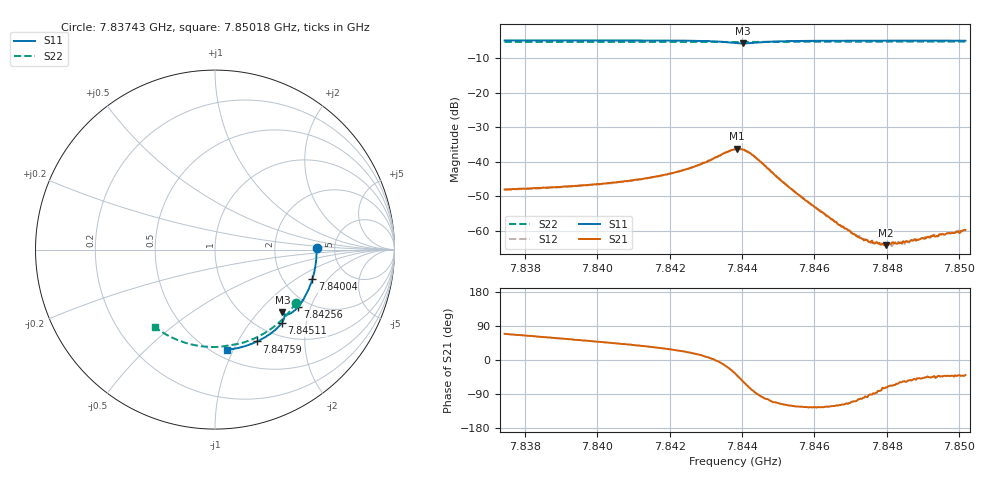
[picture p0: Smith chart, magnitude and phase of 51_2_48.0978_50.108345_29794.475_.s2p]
#  HZ  S  RI  R  50.00
! Rohde & Schwarz Vector Network Analyzer
! Rohde-Schwarz,ZNB20-2Port,1311601062101988,3.16
! Created: UTC 12/23/2023, 3:39:45 AM
! freq[Hz]  re:S11  im:S11  re:S21  im:S21  re:S12  im:S12  re:S22  im:S22
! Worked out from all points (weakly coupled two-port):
!   401 points, 7.83743 GHz to 7.85018 GHz, reference 50 ohm
!   highest |S21| = -36.24 dB at 7.84387 GHz (marker M1); lowest = -64.1 dB at 7.84798 GHz (marker M2)
!   lowest |S11| = -5.8 dB at 7.84403 GHz (marker M3), VSWR 3.11, Z = 71.8 - j68.4 ohm
!   |S11| at or under -10 dB: nowhere
!   |S22| runs from -5.4 to -5.3 dB; largest |S21 - S12| = 0.00037
!   S11 on the Smith chart (normalised r, x): 7.83743 GHz: 3.61, +0.07; 7.84004 GHz: 2.86, -1.40; 7.84256 GHz: 1.74, -1.63; 7.84511 GHz: 1.24, -1.46; 7.84759 GHz: 0.81, -1.21; 7.85018 GHz: 0.58, -0.95
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7.837432e9  0.5666 0.00633  0.00143 0.00373  0.00145 0.00365  0.4513 -0.2963
7.839566e9  0.5508 -0.135  0.00284 0.0036  0.00274 0.00355  0.3536 -0.409
7.840044e9  0.5422 -0.1659  0.00319 0.00355  0.0031 0.00353  0.3277 -0.4302
7.841701e9  0.4969 -0.2701  0.00529 0.00331  0.00523 0.0033  0.2286 -0.4908
7.842561e9  0.4607 -0.3212  0.00768 0.00272  0.00763 0.00273  0.1724 -0.5133
7.843326e9  0.4133 -0.3589  0.0119 -0.000631  0.0118 -0.000669  0.1202 -0.5271
7.843803e9  0.3788 -0.3582  0.0124 -0.00876  0.0123 -0.00889  0.0882 -0.5319
7.843867e9  0.3765 -0.3557  0.0115 -0.0103  0.0114 -0.0101  0.0841 -0.5323
7.844026e9  0.376 -0.3504  0.00817 -0.0125  0.00818 -0.0126  0.0743 -0.534
7.844345e9  0.3857 -0.3559  0.00108 -0.0118  0.00114 -0.0119  0.0538 -0.5377
7.84511e9  0.3723 -0.4076  -0.00232 -0.00466  -0.00229 -0.00468  0.000422 -0.5429
7.845938e9  0.3311 -0.4515  -0.00136 -0.00193  -0.00137 -0.00197  -0.0579 -0.5405
7.846766e9  0.2841 -0.485  -0.00053 -0.00103  -0.000533 -0.00103  -0.1156 -0.5318
7.847117e9  0.2634 -0.4971  -0.000292 -0.000848  -0.000285 -0.000882  -0.1398 -0.5264
7.847308e9  0.252 -0.5033  -0.00017 -0.000762  -0.000162 -0.00077  -0.1527 -0.523
7.847595e9  0.2347 -0.5117  -1.58e-05 -0.000725  -6.68e-06 -0.000684  -0.1718 -0.517
7.847977e9  0.2109 -0.522  0.000191 -0.000595  0.000192 -0.000638  -0.1973 -0.508
7.848072e9  0.2051 -0.5243  0.000236 -0.000605  0.00021 -0.000612  -0.2034 -0.5057
7.84855e9  0.1747 -0.5353  0.000387 -0.0006  0.000365 -0.000597  -0.2343 -0.4924
7.849251e9  0.1298 -0.5477  0.000594 -0.000593  0.000612 -0.0006  -0.2779 -0.4698
7.849984e9  0.0817 -0.5566  0.000743 -0.000636  0.000758 -0.000676  -0.3211 -0.4418
7.850175e9  0.0691 -0.5583  0.000799 -0.00066  0.00076 -0.000658  -0.3319 -0.4338
